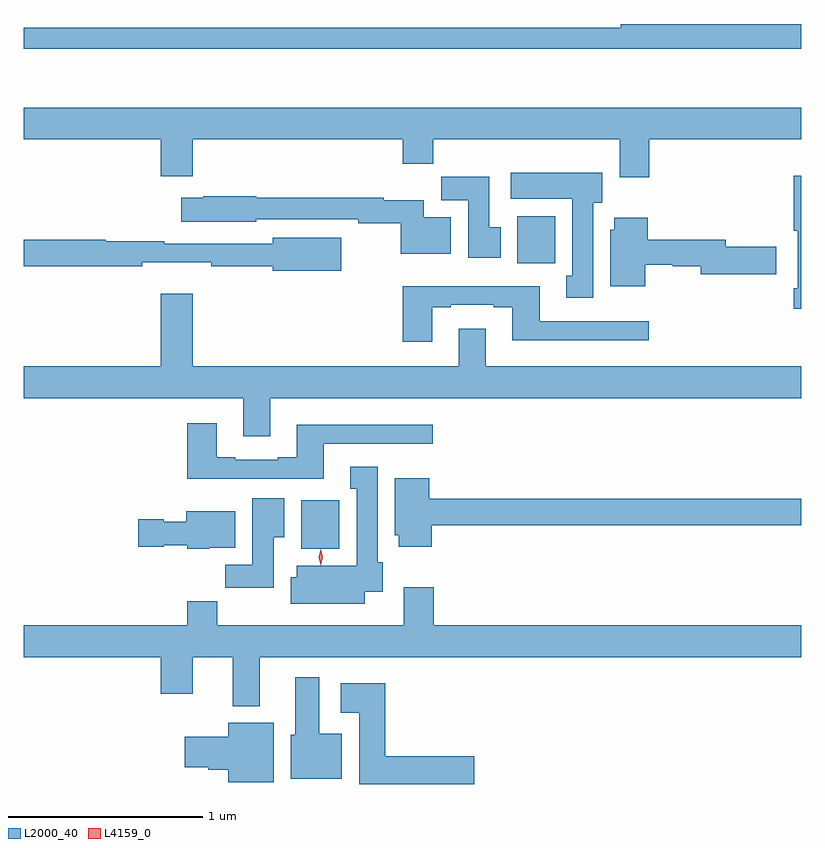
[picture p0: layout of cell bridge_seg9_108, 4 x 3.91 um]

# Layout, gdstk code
import gdstk
lib = gdstk.Library(unit=1e-6, precision=1e-09)
def R(c, l, rs):  # rectangles x0, y0, x1, y1
    for r in rs: c.add(gdstk.rectangle(r[:2], r[2:], *l))
def P(c, l, *ps):  # polygons
    for p in ps: c.add(gdstk.Polygon(p, *l))
L2000_40 = (2000, 40)
L4159_0 = (4159, 0)

bridge_seg9_108 = lib.new_cell('bridge_seg9_108')
R(bridge_seg9_108, L2000_40, [(885.011,1195.646,885.207,1195.897), (886.121,1197.116,886.318,1197.358)])
P(bridge_seg9_108, L2000_40, [(887.583,1198.346),(886.654,1198.346),(886.654,1198.326),(883.583,1198.326),(883.583,1198.218),(887.583,1198.218)],
  [(886.802,1197.752),(887.583,1197.752),(887.583,1197.916),(883.583,1197.916),(883.583,1197.752),(884.288,1197.752),(884.288,1197.564),(884.452,1197.564),(884.452,1197.752),(885.533,1197.752),(885.533,1197.628),(885.689,1197.628),(885.689,1197.752),(886.649,1197.752),(886.649,1197.558),(886.802,1197.558)],
  [(886.513,1197.426),(886.558,1197.426),(886.558,1197.58),(886.089,1197.58),(886.089,1197.446),(886.406,1197.446),(886.406,1197.05),(886.373,1197.05),(886.373,1196.937),(886.513,1196.937)],
  [(887.583,1197.565),(887.545,1197.565),(887.545,1197.283),(887.565,1197.283),(887.565,1196.986),(887.545,1196.986),(887.545,1196.88),(887.583,1196.88)],
  [(886.036,1197.3),(885.979,1197.3),(885.979,1197.559),(885.73,1197.559),(885.73,1197.44),(885.869,1197.44),(885.869,1197.144),(886.036,1197.144)],
  [(885.781,1197.352),(885.64,1197.352),(885.64,1197.44),(885.434,1197.44),(885.434,1197.451),(884.778,1197.451),(884.778,1197.459),(884.506,1197.459),(884.506,1197.451),(884.394,1197.451),(884.394,1197.329),(884.778,1197.329),(884.778,1197.342),(885.304,1197.342),(885.304,1197.322),(885.523,1197.322),(885.523,1197.164),(885.781,1197.164)],
  [(886.78,1197.108),(886.923,1197.108),(886.923,1197.1),(887.066,1197.1),(887.066,1197.058),(887.455,1197.058),(887.455,1197.2),(887.194,1197.2),(887.194,1197.236),(886.793,1197.236),(886.793,1197.349),(886.622,1197.349),(886.622,1197.288),(886.601,1197.288),(886.601,1196.996),(886.78,1196.996)],
  [(885.217,1197.247),(884.864,1197.247),(884.864,1197.216),(884.306,1197.216),(884.306,1197.229),(884.006,1197.229),(884.006,1197.236),(883.583,1197.236),(883.583,1197.1),(884.192,1197.1),(884.192,1197.119),(884.548,1197.119),(884.548,1197.1),(884.864,1197.1),(884.864,1197.077),(885.217,1197.077)],
  [(885.685,1196.889),(885.781,1196.889),(885.781,1196.901),(886.001,1196.901),(886.001,1196.889),(886.097,1196.889),(886.097,1196.72),(886.798,1196.72),(886.798,1196.817),(886.237,1196.817),(886.237,1196.998),(885.533,1196.998),(885.533,1196.712),(885.685,1196.712)],
  [(884.851,1196.42),(887.583,1196.42),(887.583,1196.584),(885.961,1196.584),(885.961,1196.779),(885.821,1196.779),(885.821,1196.584),(884.452,1196.584),(884.452,1196.959),(884.288,1196.959),(884.288,1196.584),(883.583,1196.584),(883.583,1196.42),(884.711,1196.42),(884.711,1196.226),(884.851,1196.226)],
  [(884.663,1196.007),(885.127,1196.007),(885.127,1196.187),(885.688,1196.187),(885.688,1196.284),(884.987,1196.284),(884.987,1196.116),(884.891,1196.116),(884.891,1196.103),(884.671,1196.103),(884.671,1196.116),(884.575,1196.116),(884.575,1196.293),(884.423,1196.293),(884.423,1196.006),(884.663,1196.006)],
  [(885.337,1195.424),(885.43,1195.424),(885.43,1195.578),(885.403,1195.578),(885.403,1196.068),(885.263,1196.068),(885.263,1195.955),(885.296,1195.955),(885.296,1195.558),(884.987,1195.558),(884.987,1195.499),(884.957,1195.499),(884.957,1195.364),(885.337,1195.364)],
  [(885.683,1195.768),(887.583,1195.768),(887.583,1195.904),(885.67,1195.904),(885.67,1196.008),(885.491,1196.008),(885.491,1195.716),(885.512,1195.716),(885.512,1195.656),(885.683,1195.656)],
  [(884.869,1195.705),(884.923,1195.705),(884.923,1195.906),(884.759,1195.906),(884.759,1195.564),(884.62,1195.564),(884.62,1195.446),(884.869,1195.446)],
  [(884.538,1195.652),(884.671,1195.652),(884.671,1195.84),(884.42,1195.84),(884.42,1195.786),(884.304,1195.786),(884.304,1195.799),(884.172,1195.799),(884.172,1195.657),(884.304,1195.657),(884.304,1195.664),(884.424,1195.664),(884.424,1195.646),(884.538,1195.646)],
  [(884.797,1195.088),(887.583,1195.088),(887.583,1195.252),(885.692,1195.252),(885.692,1195.447),(885.539,1195.447),(885.539,1195.252),(884.579,1195.252),(884.579,1195.376),(884.423,1195.376),(884.423,1195.252),(883.583,1195.252),(883.583,1195.088),(884.288,1195.088),(884.288,1194.9),(884.452,1194.9),(884.452,1195.088),(884.657,1195.088),(884.657,1194.836),(884.797,1194.836)],
  [(885.22,1194.694),(885.103,1194.694),(885.103,1194.985),(884.981,1194.985),(884.981,1194.69),(884.957,1194.69),(884.957,1194.464),(885.22,1194.464)],
  [(885.901,1194.578),(885.443,1194.578),(885.443,1194.955),(885.213,1194.955),(885.213,1194.803),(885.308,1194.803),(885.308,1194.436),(885.901,1194.436)],
  [(884.869,1194.751),(884.636,1194.751),(884.636,1194.679),(884.412,1194.679),(884.412,1194.521),(884.532,1194.521),(884.532,1194.509),(884.636,1194.509),(884.636,1194.446),(884.869,1194.446)])
P(bridge_seg9_108, L4159_0, [(885.11,1195.562),(885.1,1195.603),(885.11,1195.644),(885.11,1195.644),(885.11,1195.644),(885.12,1195.603),(885.111,1195.562),(885.111,1195.562)])

lib.write_gds('bridge_seg9_108.gds')
